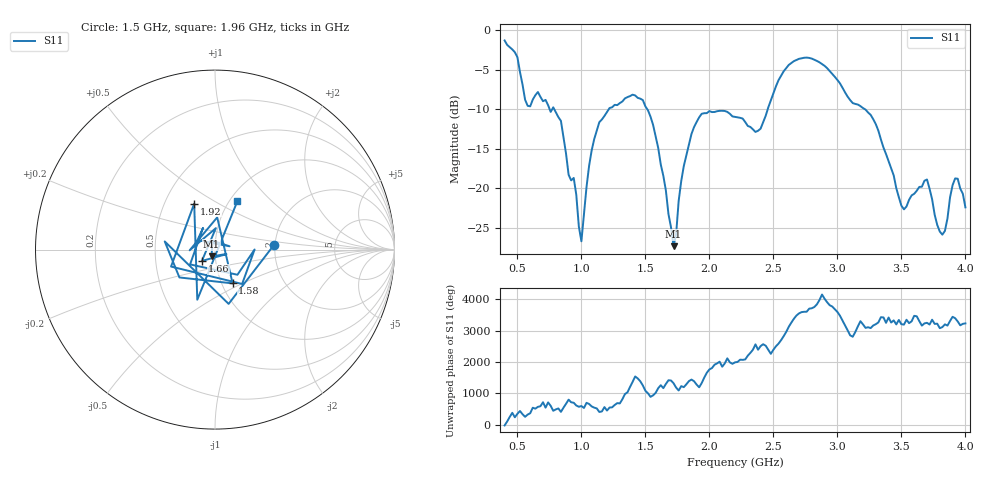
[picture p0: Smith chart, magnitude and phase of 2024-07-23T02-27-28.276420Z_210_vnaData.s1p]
!Created with skrf (http://scikit-rf.org).
# Hz S RI R 50.0
!freq ReS11 ImS11
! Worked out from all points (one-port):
!   181 points, 400 MHz to 4 GHz, reference 50 ohm
!   lowest |S11| = -27.4 dB at 1.72 GHz (marker M1), VSWR 1.09, Z = 48 - j3.67 ohm
!   |S11| at or under -10 dB: 787.9 MHz to 1.214 GHz (425.6 MHz wide, 42.5 % of centre); 1.515 GHz to 2.456 GHz (940.5 MHz wide, 47.4 % of centre); 3.216 GHz to end of sweep (the widest 3 of 4)
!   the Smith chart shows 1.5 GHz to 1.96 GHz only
!   S11 on the Smith chart (normalised r, x): 1.5 GHz: 1.98, +0.12; 1.58 GHz: 1.13, -0.44; 1.66 GHz: 0.86, -0.11; 1.92 GHz: 0.70, +0.39; 1.96 GHz: 1.09, +0.65
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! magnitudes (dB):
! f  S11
! 400 MHz  -1.3
! 500 MHz  -3.4
! 580 MHz  -9.6
! 660 MHz  -7.8
! 860 MHz  -13.6
! 900 MHz  -18.3
! 940 MHz  -18.7
! 1 GHz  -26.7
! 1.1 GHz  -13.8
! 1.3 GHz  -9.2
! 1.5 GHz  -9.6
! 1.58 GHz  -13.5
! 1.66 GHz  -20.3
! 1.72 GHz  -27.4
! 1.76 GHz  -21.6
! 1.92 GHz  -11.0
! 1.96 GHz  -10.5
! 2.2 GHz  -11.0
! 2.4 GHz  -12.5
! 2.66 GHz  -3.9
! 3.1 GHz  -8.8
! 3.26 GHz  -10.7
! 3.5 GHz  -22.2
! 3.56 GHz  -21.5
! 3.7 GHz  -18.9
! 3.82 GHz  -25.9
! 3.92 GHz  -18.8
! 4 GHz  -22.4
